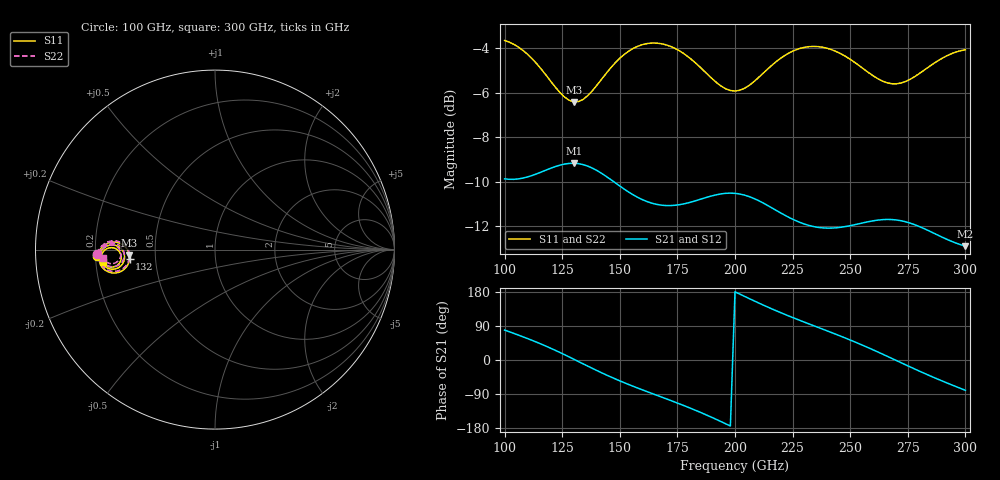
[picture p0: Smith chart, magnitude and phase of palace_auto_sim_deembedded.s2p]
! Created with skrf 1.11.0 (http://scikit-rf.org).
# GHz S DB R 50.0
!freq dBS11 angS11 dBS21 angS21 dBS12 angS12 dBS22 angS22
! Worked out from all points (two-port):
!   101 points, 100 GHz to 300 GHz, reference 50 ohm
!   highest |S21| = -9.17 dB at 130 GHz (marker M1); lowest = -12.9 dB at 300 GHz (marker M2)
!   |S21| within 3 dB of the highest: start of sweep to 283.4 GHz
!   lowest |S11| = -6.4 dB at 130 GHz (marker M3), VSWR 2.83, Z = 17.7 - j1.43 ohm
!   |S11| at or under -10 dB: nowhere
!   |S22| runs from -6.4 to -3.7 dB; largest |S21 - S12| = 5.9e-14
!   S11 on the Smith chart (normalised r, x): 100 GHz: 0.21, -0.02; 132 GHz: 0.35, -0.05; 300 GHz: 0.23, -0.05
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100  -3.66 -177.1  -9.87 79.0  -9.87 79.0  -3.66 -177.7
116  -4.96 175.7  -9.56 41.7  -9.56 41.7  -4.96 175.0
124  -6.00 178.1  -9.26 19.8  -9.26 19.8  -5.99 177.3
130  -6.42 -176.3  -9.17 2.2  -9.17 2.2  -6.41 -177.1
132  -6.40 -174.0  -9.19 -3.9  -9.19 -3.9  -6.40 -174.9
134  -6.31 -172.0  -9.23 -9.9  -9.23 -9.9  -6.31 -172.8
142  -5.41 -166.9  -9.62 -33.4  -9.62 -33.4  -5.41 -167.8
150  -4.46 -167.7  -10.20 -55.0  -10.20 -55.0  -4.46 -168.6
160  -3.84 -172.5  -10.82 -79.2  -10.82 -79.2  -3.84 -173.5
168  -3.80 -176.9  -11.06 -97.5  -11.06 -97.5  -3.80 -177.9
184  -4.78 177.4  -10.82 -135.6  -10.82 -135.6  -4.77 176.3
192  -5.55 178.9  -10.59 -157.1  -10.59 -157.1  -5.54 177.8
200  -5.93 -175.6  -10.53 180.0  -10.53 180.0  -5.92 -176.9
208  -5.53 -170.4  -10.75 156.9  -10.75 156.9  -5.52 -171.7
216  -4.77 -169.1  -11.18 134.9  -11.18 134.9  -4.77 -170.4
224  -4.19 -171.0  -11.64 114.6  -11.64 114.6  -4.19 -172.4
234  -3.93 -175.2  -12.02 90.8  -12.02 90.8  -3.92 -176.7
252  -4.65 179.0  -11.93 47.7  -11.93 47.7  -4.64 177.4
268  -5.60 -176.4  -11.70 4.4  -11.70 4.4  -5.59 -178.1
276  -5.40 -172.1  -11.86 -18.2  -11.86 -18.2  -5.40 -173.9
284  -4.85 -170.3  -12.20 -40.0  -12.20 -40.0  -4.85 -172.2
300  -4.08 -173.8  -12.90 -80.0  -12.90 -80.0  -4.08 -175.8
